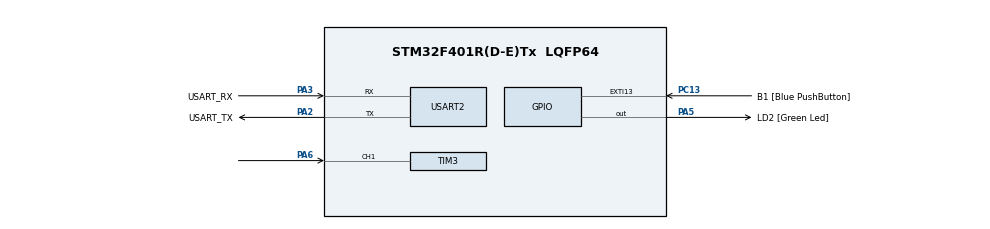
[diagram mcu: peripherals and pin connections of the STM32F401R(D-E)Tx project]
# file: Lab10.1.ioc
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Mcu.Family=STM32F4
Mcu.Name=STM32F401R(D-E)Tx
Mcu.Package=LQFP64
NVIC.PriorityGroup=NVIC_PRIORITYGROUP_4
NVIC.TIM3_IRQn=true\:0\:0\:false\:false\:true\:true\:true\:true
PA13.GPIO_Label=TMS
PA13.Mode=Trace_Asynchronous_SW
PA13.Signal=SYS_JTMS-SWDIO
PA14.GPIO_Label=TCK
PA14.Mode=Trace_Asynchronous_SW
PA14.Signal=SYS_JTCK-SWCLK
PA2.GPIO_Label=USART_TX
PA2.GPIO_Mode=GPIO_MODE_AF_PP
PA2.GPIO_PuPd=GPIO_NOPULL
PA2.GPIO_Speed=GPIO_SPEED_FREQ_LOW
PA2.Mode=Asynchronous
PA2.Signal=USART2_TX
PA3.GPIO_Label=USART_RX
PA3.GPIO_Mode=GPIO_MODE_AF_PP
PA3.GPIO_PuPd=GPIO_NOPULL
PA3.GPIO_Speed=GPIO_SPEED_FREQ_LOW
PA3.Mode=Asynchronous
PA3.Signal=USART2_RX
PA5.GPIO_Label=LD2 [Green Led]
PA5.GPIO_Mode=GPIO_MODE_OUTPUT_PP
PA5.GPIO_PuPd=GPIO_NOPULL
PA5.GPIO_Speed=GPIO_SPEED_FREQ_LOW
PA5.Signal=GPIO_Output
PA6.Signal=S_TIM3_CH1
PB3.GPIO_Label=SWO
PB3.Mode=Trace_Asynchronous_SW
PB3.Signal=SYS_JTDO-SWO
PC13-ANTI_TAMP.GPIO_Label=B1 [Blue PushButton]
PC13-ANTI_TAMP.GPIO_ModeDefaultEXTI=GPIO_MODE_IT_FALLING
PC13-ANTI_TAMP.GPIO_PuPd=GPIO_NOPULL
PC13-ANTI_TAMP.Signal=GPXTI13
PC14-OSC32_IN.Mode=LSE-External-Oscillator
PC14-OSC32_IN.Signal=RCC_OSC32_IN
PC15-OSC32_OUT.Mode=LSE-External-Oscillator
PC15-OSC32_OUT.Signal=RCC_OSC32_OUT
PH0\ -\ OSC_IN.Mode=HSE-External-Clock-Source
PH0\ -\ OSC_IN.Signal=RCC_OSC_IN
PH1\ -\ OSC_OUT.Mode=HSE-External-Clock-Source
PH1\ -\ OSC_OUT.Signal=RCC_OSC_OUT
ProjectManager.HeapSize=0x200
ProjectManager.StackSize=0x400
ProjectManager.TargetToolchain=STM32CubeIDE
RCC.48MHZClocksFreq_Value=48000000
RCC.AHBFreq_Value=84000000
RCC.APB1CLKDivider=RCC_HCLK_DIV2
RCC.APB1Freq_Value=42000000
RCC.APB1TimFreq_Value=84000000
RCC.APB2Freq_Value=84000000
RCC.APB2TimFreq_Value=84000000
RCC.CortexFreq_Value=84000000
RCC.HCLKFreq_Value=84000000
RCC.HSE_VALUE=8000000
RCC.HSI_VALUE=16000000
RCC.PLLN=336
RCC.PLLP=RCC_PLLP_DIV4
RCC.PLLQ=7
RCC.SYSCLKFreq_VALUE=84000000
RCC.SYSCLKSource=RCC_SYSCLKSOURCE_PLLCLK
RCC.VCOOutputFreq_Value=336000000
SH.S_TIM3_CH1.0=TIM3_CH1,Input_Capture1_from_TI1
TIM3.Channel-Input_Capture1_from_TI1=TIM_CHANNEL_1
TIM3.ICPolarity_CH1=TIM_INPUTCHANNELPOLARITY_BOTHEDGE
USART2.VirtualMode=VM_ASYNC
VP_TIM3_VS_ClockSourceINT.Mode=Internal
board=NUCLEO-F401RE

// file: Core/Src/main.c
/* USER CODE BEGIN Header */
/**
 ******************************************************************************
 * @file           : main.c
 * @brief          : Main program body
 ******************************************************************************
 * @attention
 *
 * Copyright (c) 2025 STMicroelectronics.
 * All rights reserved.
 *
 * This software is licensed under terms that can be found in the LICENSE file
 * in the root directory of this software component.
 * If no LICENSE file comes with this software, it is provided AS-IS.
 *
 ******************************************************************************
 */
/* USER CODE END Header */
#include "main.h"

UART_HandleTypeDef huart2;

/* USER CODE BEGIN PV */
volatile uint16_t period = 0;
volatile float dutyCycle = 0;
/* USER CODE END PV */

void SystemClock_Config(void);
static void MX_GPIO_Init(void);
static void MX_USART2_UART_Init(void);
static void MX_TIM3_Init(void);

int main(void) {

	/* MCU Configuration--------------------------------------------------------*/

	/* Reset of all peripherals, Initializes the Flash interface and the Systick. */
	HAL_Init();

	/* Configure the system clock */
	SystemClock_Config();

	/* Initialize all configured peripherals */
	MX_GPIO_Init();
	MX_USART2_UART_Init();
	MX_TIM3_Init();
	/* USER CODE BEGIN 2 */

	// ---- START TIM3 configuration ----
	LL_TIM_WriteReg(TIM3, PSC, 99);	// Prescaler value
	LL_TIM_WriteReg(TIM3, ARR, 0xFFFF);	// ARR value
	LL_TIM_WriteReg(TIM3, DIER, LL_TIM_ReadReg(TIM3,DIER) | 0b011);	// Enable interrupt for CC1 and UIF
	LL_TIM_WriteReg(TIM3, CCER, LL_TIM_ReadReg(TIM3, CCER) | 0x01); // Enable CC1
	LL_TIM_WriteReg(TIM3, CNT, 0x0000); // Clear CNT
	// ---- END TIM3 configuration ----

	LL_TIM_WriteReg(TIM3, CR1, LL_TIM_ReadReg(TIM3,CR1) | 0x01); // Enable TIM3
	LL_DBGMCU_APB1_GRP1_FreezePeriph(LL_DBGMCU_APB1_GRP1_TIM3_STOP);

	int i = 0;
	const float timFreq = (84000000 / 100);

	/* USER CODE END 2 */

	/* Infinite loop */
	/* USER CODE BEGIN WHILE */
	while (1) {
		volatile int frequency = timFreq / period;
		volatile int dutyCycleMain = dutyCycle;
		char buffer[50];
		snprintf(buffer, sizeof(buffer), "Period: %d\tDC: %d \n\n", frequency,
				dutyCycleMain);
		HAL_UART_Transmit(&huart2, (uint8_t*) buffer, strlen(buffer), 100000);

		//HAL_UART_Transmit(&huart2,(uint8_t *) "Prova", 5,1);

		/* USER CODE END WHILE */

	}
}

void SystemClock_Config(void) {
	LL_FLASH_SetLatency(LL_FLASH_LATENCY_2);
	while (LL_FLASH_GetLatency() != LL_FLASH_LATENCY_2) {
	}
	LL_PWR_SetRegulVoltageScaling(LL_PWR_REGU_VOLTAGE_SCALE2);
	LL_RCC_HSI_SetCalibTrimming(16);
	LL_RCC_HSI_Enable();

	/* Wait till HSI is ready */
	while (LL_RCC_HSI_IsReady() != 1) {

	}
	LL_RCC_PLL_ConfigDomain_SYS(LL_RCC_PLLSOURCE_HSI, LL_RCC_PLLM_DIV_16, 336,
			LL_RCC_PLLP_DIV_4);
	LL_RCC_PLL_Enable();

	/* Wait till PLL is ready */
	while (LL_RCC_PLL_IsReady() != 1) {

	}
	while (LL_PWR_IsActiveFlag_VOS() == 0) {
	}
	LL_RCC_SetAHBPrescaler(LL_RCC_SYSCLK_DIV_1);
	LL_RCC_SetAPB1Prescaler(LL_RCC_APB1_DIV_2);
	LL_RCC_SetAPB2Prescaler(LL_RCC_APB2_DIV_1);
	LL_RCC_SetSysClkSource(LL_RCC_SYS_CLKSOURCE_PLL);

	/* Wait till System clock is ready */
	while (LL_RCC_GetSysClkSource() != LL_RCC_SYS_CLKSOURCE_STATUS_PLL) {

	}
	LL_SetSystemCoreClock(84000000);

	/* Update the time base */
	if (HAL_InitTick(TICK_INT_PRIORITY) != HAL_OK) {
		Error_Handler();
	}
	LL_RCC_SetTIMPrescaler(LL_RCC_TIM_PRESCALER_TWICE);
}

static void MX_TIM3_Init(void) {

	LL_TIM_InitTypeDef TIM_InitStruct = { 0 };

	LL_GPIO_InitTypeDef GPIO_InitStruct = { 0 };

	/* Peripheral clock enable */
	LL_APB1_GRP1_EnableClock(LL_APB1_GRP1_PERIPH_TIM3);

	LL_AHB1_GRP1_EnableClock(LL_AHB1_GRP1_PERIPH_GPIOA);
	/**TIM3 GPIO Configuration
	 PA6   ------> TIM3_CH1
	 */
	GPIO_InitStruct.Pin = LL_GPIO_PIN_6;
	GPIO_InitStruct.Mode = LL_GPIO_MODE_ALTERNATE;
	GPIO_InitStruct.Speed = LL_GPIO_SPEED_FREQ_LOW;
	GPIO_InitStruct.OutputType = LL_GPIO_OUTPUT_PUSHPULL;
	GPIO_InitStruct.Pull = LL_GPIO_PULL_NO;
	GPIO_InitStruct.Alternate = LL_GPIO_AF_2;
	LL_GPIO_Init(GPIOA, &GPIO_InitStruct);

	/* TIM3 interrupt Init */
	NVIC_SetPriority(TIM3_IRQn,
			NVIC_EncodePriority(NVIC_GetPriorityGrouping(), 0, 0));
	NVIC_EnableIRQ(TIM3_IRQn);

	TIM_InitStruct.Prescaler = 0;
	TIM_InitStruct.CounterMode = LL_TIM_COUNTERMODE_UP;
	TIM_InitStruct.Autoreload = 65535;
	TIM_InitStruct.ClockDivision = LL_TIM_CLOCKDIVISION_DIV1;
	LL_TIM_Init(TIM3, &TIM_InitStruct);
	LL_TIM_DisableARRPreload(TIM3);
	LL_TIM_SetClockSource(TIM3, LL_TIM_CLOCKSOURCE_INTERNAL);
	LL_TIM_SetTriggerOutput(TIM3, LL_TIM_TRGO_RESET);
	LL_TIM_DisableMasterSlaveMode(TIM3);
	LL_TIM_IC_SetActiveInput(TIM3, LL_TIM_CHANNEL_CH1,
			LL_TIM_ACTIVEINPUT_DIRECTTI);
	LL_TIM_IC_SetPrescaler(TIM3, LL_TIM_CHANNEL_CH1, LL_TIM_ICPSC_DIV1);
	LL_TIM_IC_SetFilter(TIM3, LL_TIM_CHANNEL_CH1, LL_TIM_IC_FILTER_FDIV1);
	LL_TIM_IC_SetPolarity(TIM3, LL_TIM_CHANNEL_CH1,
			LL_TIM_IC_POLARITY_BOTHEDGE);

}

static void MX_USART2_UART_Init(void) {

	huart2.Instance = USART2;
	huart2.Init.BaudRate = 115200;
	huart2.Init.WordLength = UART_WORDLENGTH_8B;
	huart2.Init.StopBits = UART_STOPBITS_1;
	huart2.Init.Parity = UART_PARITY_NONE;
	huart2.Init.Mode = UART_MODE_TX_RX;
	huart2.Init.HwFlowCtl = UART_HWCONTROL_NONE;
	huart2.Init.OverSampling = UART_OVERSAMPLING_16;
	if (HAL_UART_Init(&huart2) != HAL_OK) {
		Error_Handler();
	}

}

static void MX_GPIO_Init(void) {
	LL_EXTI_InitTypeDef EXTI_InitStruct = { 0 };
	LL_GPIO_InitTypeDef GPIO_InitStruct = { 0 };

	/* GPIO Ports Clock Enable */
	LL_AHB1_GRP1_EnableClock(LL_AHB1_GRP1_PERIPH_GPIOC);
	LL_AHB1_GRP1_EnableClock(LL_AHB1_GRP1_PERIPH_GPIOH);
	LL_AHB1_GRP1_EnableClock(LL_AHB1_GRP1_PERIPH_GPIOA);
	LL_AHB1_GRP1_EnableClock(LL_AHB1_GRP1_PERIPH_GPIOB);

	/**/
	LL_GPIO_ResetOutputPin(LD2_GPIO_Port, LD2_Pin);

	/**/
	LL_SYSCFG_SetEXTISource(LL_SYSCFG_EXTI_PORTC, LL_SYSCFG_EXTI_LINE13);

	/**/
	EXTI_InitStruct.Line_0_31 = LL_EXTI_LINE_13;
	EXTI_InitStruct.LineCommand = ENABLE;
	EXTI_InitStruct.Mode = LL_EXTI_MODE_IT;
	EXTI_InitStruct.Trigger = LL_EXTI_TRIGGER_FALLING;
	LL_EXTI_Init(&EXTI_InitStruct);

	/**/
	LL_GPIO_SetPinPull(B1_GPIO_Port, B1_Pin, LL_GPIO_PULL_NO);

	/**/
	LL_GPIO_SetPinMode(B1_GPIO_Port, B1_Pin, LL_GPIO_MODE_INPUT);

	/**/
	GPIO_InitStruct.Pin = LD2_Pin;
	GPIO_InitStruct.Mode = LL_GPIO_MODE_OUTPUT;
	GPIO_InitStruct.Speed = LL_GPIO_SPEED_FREQ_LOW;
	GPIO_InitStruct.OutputType = LL_GPIO_OUTPUT_PUSHPULL;
	GPIO_InitStruct.Pull = LL_GPIO_PULL_NO;
	LL_GPIO_Init(LD2_GPIO_Port, &GPIO_InitStruct);

}

void Error_Handler(void) {
	__disable_irq();
	while (1) {
	}
}
